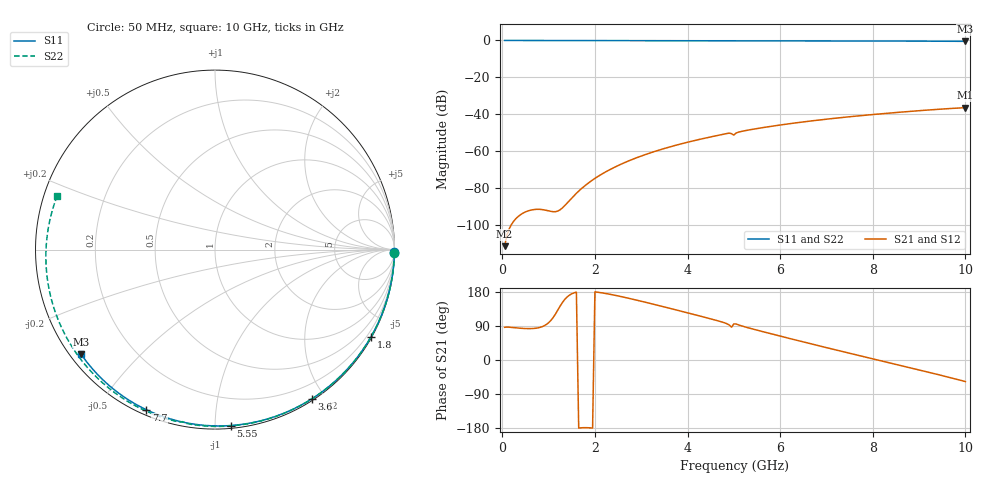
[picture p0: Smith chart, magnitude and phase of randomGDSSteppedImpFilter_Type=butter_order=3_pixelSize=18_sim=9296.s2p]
! freq	dB(S11)	phase(S11)	dB(S12)	phase(S12)
!  dB(S21)	phase(S21)	dB(S22)	phase(S22)
!S-par simulation data
#  GHz  S  DB  R 50
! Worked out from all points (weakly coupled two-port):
!   200 points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, 50 MHz to 10 GHz, reference 50 ohm
!   highest |S21| = -36.43 dB at 10 GHz (marker M1); lowest = -111.5 dB at 50 MHz (marker M2)
!   lowest |S11| = -0.5 dB at 10 GHz (marker M3), VSWR 36.35, Z = 1.54 - j17.2 ohm
!   |S11| at or under -10 dB: nowhere
!   |S22| runs from -0.6 to 0.0 dB; largest |S21 - S12| = 0
!   S11 on the Smith chart (normalised r, x): 50 MHz: open; 1.8 GHz: 0.03, -3.84; 3.6 GHz: 0.02, -1.84; 5.55 GHz: 0.02, -1.09; 7.7 GHz: 0.02, -0.66; 10 GHz: 0.03, -0.34
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0.05  -0.00 -0.8  -111.54 86.3  -111.54 86.3  -0.00 -1.1
0.85  -0.02 -13.9  -91.66 87.4  -91.66 87.4  -0.02 -18.3
1.7  -0.03 -27.6  -80.54 -179.0  -80.54 -179.0  -0.05 -36.1
1.75  -0.04 -28.4  -79.46 -178.6  -79.46 -178.6  -0.05 -37.2
1.8  -0.04 -29.2  -78.44 -178.5  -78.44 -178.5  -0.05 -38.2
2.1  -0.04 -33.9  -73.20 178.2  -73.20 178.2  -0.06 -44.4
2.5  -0.05 -40.2  -67.83 169.1  -67.83 169.1  -0.07 -52.6
2.9  -0.06 -46.3  -63.60 158.0  -63.60 158.0  -0.08 -60.6
3.4  -0.07 -53.9  -59.32 143.1  -59.32 143.1  -0.09 -70.5
3.6  -0.08 -56.9  -57.85 136.9  -57.85 136.9  -0.10 -74.4
4.2  -0.09 -65.8  -53.98 118.2  -53.98 118.2  -0.12 -85.9
4.85  -0.11 -75.1  -50.46 95.7  -50.46 95.7  -0.15 -98.3
4.9  -0.11 -75.8  -50.24 92.5  -50.24 92.5  -0.16 -99.3
5  -0.12 -77.2  -51.29 95.3  -51.29 95.3  -0.22 -100.7
5.05  -0.12 -77.9  -50.19 95.0  -50.19 95.0  -0.17 -101.7
5.55  -0.14 -84.8  -47.57 77.2  -47.57 77.2  -0.19 -111.1
6.1  -0.16 -92.3  -45.49 60.0  -45.49 60.0  -0.22 -121.2
6.7  -0.19 -100.3  -43.55 41.6  -43.55 41.6  -0.26 -132.2
7.7  -0.26 -113.2  -40.87 11.9  -40.87 11.9  -0.35 -150.9
8.35  -0.31 -121.4  -39.40 -7.1  -39.40 -7.1  -0.42 -163.5
9.2  -0.39 -132.0  -37.71 -32.1  -37.71 -32.1  -0.53 179.1
10  -0.48 -142.1  -36.43 -56.9  -36.43 -56.9  -0.64 161.3
